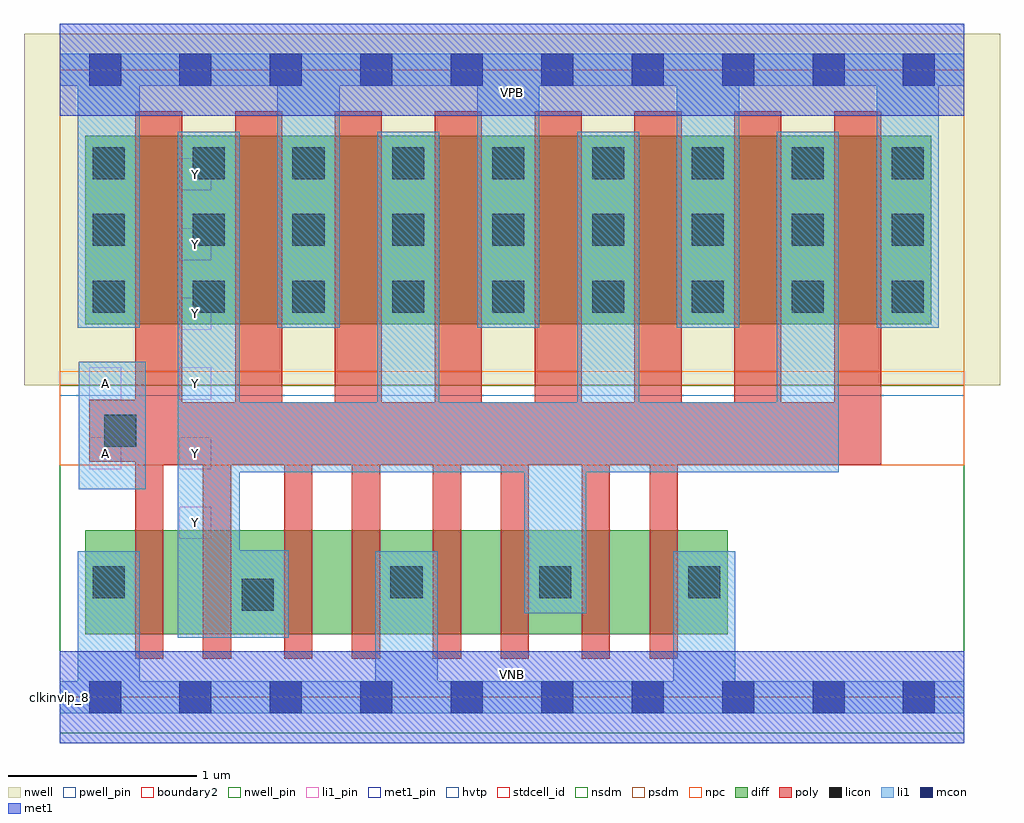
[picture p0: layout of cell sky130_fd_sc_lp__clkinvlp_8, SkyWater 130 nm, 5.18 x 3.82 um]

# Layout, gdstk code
import gdstk
lib = gdstk.Library(unit=1e-6, precision=1e-09)
def R(c, l, rs):  # rectangles x0, y0, x1, y1
    for r in rs: c.add(gdstk.rectangle(r[:2], r[2:], *l))
def A(c, l, x, y, w, h, nx, ny, dx, dy):  # array of equal rectangles
    R(c, l, [(x+i*dx, y+j*dy, x+i*dx+w, y+j*dy+h) for i in range(nx) for j in range(ny)])
def P(c, l, *ps):  # polygons
    for p in ps: c.add(gdstk.Polygon(p, *l))
nwell_pin = (64, 16)
nwell = (64, 20)
diff = (65, 20)
poly = (66, 20)
licon = (66, 44)
li1_pin = (67, 16)
li1 = (67, 20)
mcon = (67, 44)
met1_pin = (68, 16)
met1 = (68, 20)
hvtp = (78, 44)
stdcell_id = (81, 4)
nsdm = (93, 44)
psdm = (94, 20)
npc = (95, 20)
pwell_pin = (122, 16)
boundary2 = (236, 0)

sky130_fd_sc_lp__clkinvl = lib.new_cell('sky130_fd_sc_lp__clkinvlp_8')
R(sky130_fd_sc_lp__clkinvl, nwell_pin, [(0,3.085,4.8,3.33)])
R(sky130_fd_sc_lp__clkinvl, nwell, [(-0.19,1.655,4.99,3.52)])
R(sky130_fd_sc_lp__clkinvl, diff, [(0.135,0.335,3.545,0.885), (0.135,1.98,4.625,2.98)])
P(sky130_fd_sc_lp__clkinvl, poly, [(4.36,3.11),(4.11,3.11),(4.11,1.565),(3.83,1.565),(3.83,3.11),(3.58,3.11),(3.58,1.565),(3.3,1.565),(3.3,3.11),(3.05,3.11),(3.05,1.565),(2.77,1.565),(2.77,3.11),(2.52,3.11),(2.52,1.565),(2.24,1.565),(2.24,3.11),(1.99,3.11),(1.99,1.565),(1.71,1.565),(1.71,3.11),(1.46,3.11),(1.46,1.565),(1.18,1.565),(1.18,3.11),(0.93,3.11),(0.93,1.565),(0.65,1.565),(0.65,3.11),(0.4,3.11),(0.4,1.58),(0.155,1.58),(0.155,1.25),(0.4,1.25),(0.4,0.205),(0.55,0.205),(0.55,1.235),(0.76,1.235),(0.76,0.205),(0.91,0.205),(0.91,1.235),(1.19,1.235),(1.19,0.205),(1.34,0.205),(1.34,1.235),(1.55,1.235),(1.55,0.205),(1.7,0.205),(1.7,1.235),(1.98,1.235),(1.98,0.205),(2.13,0.205),(2.13,1.235),(2.34,1.235),(2.34,0.205),(2.49,0.205),(2.49,1.235),(2.77,1.235),(2.77,0.205),(2.92,0.205),(2.92,1.235),(3.13,1.235),(3.13,0.205),(3.28,0.205),(3.28,1.235),(4.36,1.235)])
A(sky130_fd_sc_lp__clkinvl, licon, 1.755, 0.525, 0.17, 0.17, 3, 1, 0.79, 0)
A(sky130_fd_sc_lp__clkinvl, licon, 0.175, 2.04, 0.17, 0.17, 9, 3, 0.53, 0.355)
R(sky130_fd_sc_lp__clkinvl, licon, [(0.965,0.46,1.135,0.63), (0.175,0.525,0.345,0.695), (0.235,1.33,0.405,1.5)])
A(sky130_fd_sc_lp__clkinvl, li1_pin, 0.635, 0.84, 0.17, 0.17, 1, 6, 0, 0.37)
R(sky130_fd_sc_lp__clkinvl, li1_pin, [(0.155,1.21,0.325,1.38), (0.155,1.58,0.325,1.75)])
R(sky130_fd_sc_lp__clkinvl, li1, [(0.1,1.105,0.455,1.78)])
P(sky130_fd_sc_lp__clkinvl, li1, [(4.135,3),(3.805,3),(3.805,1.565),(3.075,1.565),(3.075,3),(2.745,3),(2.745,1.565),(2.015,1.565),(2.015,3),(1.685,3),(1.685,1.565),(0.955,1.565),(0.955,3),(0.625,3),(0.625,0.315),(1.215,0.315),(1.215,0.78),(0.955,0.78),(0.955,1.195),(2.465,1.195),(2.465,0.445),(2.795,0.445),(2.795,1.195),(4.135,1.195)],
  [(4.8,3.415),(0,3.415),(0,3.245),(0.095,3.245),(0.095,1.96),(0.425,1.96),(0.425,3.245),(1.155,3.245),(1.155,1.96),(1.485,1.96),(1.485,3.245),(2.215,3.245),(2.215,1.96),(2.545,1.96),(2.545,3.245),(3.275,3.245),(3.275,1.96),(3.605,1.96),(3.605,3.245),(4.335,3.245),(4.335,1.96),(4.665,1.96),(4.665,3.245),(4.8,3.245)],
  [(4.8,0.085),(3.585,0.085),(3.585,0.775),(3.255,0.775),(3.255,0.085),(2.005,0.085),(2.005,0.775),(1.675,0.775),(1.675,0.085),(0.425,0.085),(0.425,0.775),(0.095,0.775),(0.095,0.085),(0,0.085),(0,-0.085),(4.8,-0.085)])
A(sky130_fd_sc_lp__clkinvl, mcon, 0.155, -0.085, 0.17, 0.17, 10, 2, 0.48, 3.33)
R(sky130_fd_sc_lp__clkinvl, met1_pin, [(0,0,4.8,0.245), (0,3.085,4.8,3.33)])
R(sky130_fd_sc_lp__clkinvl, met1, [(0,-0.245,4.8,0.245), (0,3.085,4.8,3.575)])
R(sky130_fd_sc_lp__clkinvl, hvtp, [(0,1.6,4.8,3.33)])
R(sky130_fd_sc_lp__clkinvl, stdcell_id, [(0,0,4.8,3.33)])
R(sky130_fd_sc_lp__clkinvl, nsdm, [(0,-0.19,4.8,1.655)])
R(sky130_fd_sc_lp__clkinvl, psdm, [(0,1.655,4.8,3.52)])
R(sky130_fd_sc_lp__clkinvl, npc, [(0,1.23,4.8,1.73)])
R(sky130_fd_sc_lp__clkinvl, pwell_pin, [(0,0,4.8,0.245)])
R(sky130_fd_sc_lp__clkinvl, boundary2, [(0,0,4.8,3.33)])
sky130_fd_sc_lp__clkinvl.add(gdstk.Label('VNB', (2.4,0.123), layer=64, texttype=59))
sky130_fd_sc_lp__clkinvl.add(gdstk.Label('VPB', (2.4,3.208), layer=64, texttype=5))
sky130_fd_sc_lp__clkinvl.add(gdstk.Label('clkinvlp_8', (0,0), layer=83, texttype=44))
sky130_fd_sc_lp__clkinvl.add(gdstk.Label('VPWR', (2.4,3.208), layer=68, texttype=5))
sky130_fd_sc_lp__clkinvl.add(gdstk.Label('VGND', (2.4,0.123), layer=68, texttype=5))
sky130_fd_sc_lp__clkinvl.add(gdstk.Label('A', (0.24,1.295), layer=67, texttype=5))
sky130_fd_sc_lp__clkinvl.add(gdstk.Label('A', (0.24,1.665), layer=67, texttype=5))
sky130_fd_sc_lp__clkinvl.add(gdstk.Label('Y', (0.72,0.925), layer=67, texttype=5))
sky130_fd_sc_lp__clkinvl.add(gdstk.Label('Y', (0.72,1.295), layer=67, texttype=5))
sky130_fd_sc_lp__clkinvl.add(gdstk.Label('Y', (0.72,1.665), layer=67, texttype=5))
sky130_fd_sc_lp__clkinvl.add(gdstk.Label('Y', (0.72,2.035), layer=67, texttype=5))
sky130_fd_sc_lp__clkinvl.add(gdstk.Label('Y', (0.72,2.405), layer=67, texttype=5))
sky130_fd_sc_lp__clkinvl.add(gdstk.Label('Y', (0.72,2.775), layer=67, texttype=5))

lib.write_gds('sky130_fd_sc_lp__clkinvlp_8.gds')
